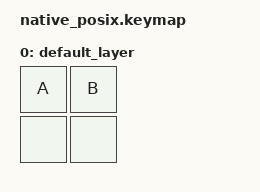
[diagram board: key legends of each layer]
#include <dt-bindings/zmk/keys.h>
#include <behaviors.dtsi>
#include <dt-bindings/zmk/kscan-mock.h>

/ {
	behaviors {
		combo_one: combo_one {
			compatible = "zmk,behavior-combo";
			label = "COMBO_ONE";
			timeout-ms = <30>;
			key-positions = <0 1>;
			bindings = <&kp C>;
		};
	};

	keymap {
		compatible = "zmk,keymap";
		label ="Default keymap";

		default_layer {
			bindings = <
				&kp A &kp B
				&none &none
			>;
		};
	};
};

&kscan {
	events = <
		/* all different combinations of press and release order */
		ZMK_MOCK_PRESS(0,0,10) 
		ZMK_MOCK_PRESS(0,1,10) 
		ZMK_MOCK_RELEASE(0,0,10) 
		ZMK_MOCK_RELEASE(0,1,10)

		ZMK_MOCK_PRESS(0,1,10) 
		ZMK_MOCK_PRESS(0,0,10) 
		ZMK_MOCK_RELEASE(0,0,10) 
		ZMK_MOCK_RELEASE(0,1,10)

		ZMK_MOCK_PRESS(0,0,10) 
		ZMK_MOCK_PRESS(0,1,10) 
		ZMK_MOCK_RELEASE(0,1,10) 
		ZMK_MOCK_RELEASE(0,0,10)

		ZMK_MOCK_PRESS(0,1,10) 
		ZMK_MOCK_PRESS(0,0,10) 
		ZMK_MOCK_RELEASE(0,1,10) 
		ZMK_MOCK_RELEASE(0,0,10)
	>;
};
